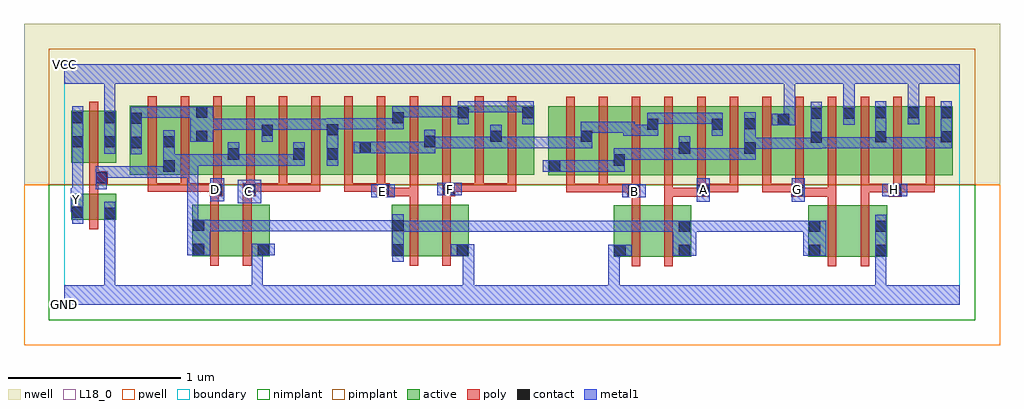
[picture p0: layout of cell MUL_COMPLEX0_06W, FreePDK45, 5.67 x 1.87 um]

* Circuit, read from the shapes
.subckt MUL_COMPLEX0_06W A B C D E F G GND H VCC Y
M1 GND n1 Y VSUBS nfet w=0.15u l=0.05u
M2 n2 D n1 VSUBS nfet w=0.3u l=0.05u
M3 GND C n2 VSUBS nfet w=0.3u l=0.05u
M4 n3 E n1 VSUBS nfet w=0.3u l=0.05u
M5 GND F n3 VSUBS nfet w=0.3u l=0.05u
M6 n4 B GND VSUBS nfet w=0.3u l=0.05u
M7 n1 A n4 VSUBS nfet w=0.3u l=0.05u
M8 n5 G n1 VSUBS nfet w=0.3u l=0.05u
M9 GND H n5 VSUBS nfet w=0.3u l=0.05u
M10 VCC n1 Y n6 pfet w=0.3u l=0.05u
M11 n1 D n7 n6 pfet w=0.4u l=0.05u m=3
M12 n7 C n1 n6 pfet w=0.4u l=0.05u m=3
M13 n8 E n7 n6 pfet w=0.4u l=0.05u m=3
M14 n7 F n8 n6 pfet w=0.4u l=0.05u m=3
M15 n8 B n9 n6 pfet w=0.4u l=0.05u m=3
M16 n9 A n8 n6 pfet w=0.4u l=0.05u m=3
M17 VCC G n9 n6 pfet w=0.4u l=0.05u m=3
M18 n9 H VCC n6 pfet w=0.4u l=0.05u m=3
.ends

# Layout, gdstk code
import gdstk
lib = gdstk.Library(unit=1e-6, precision=1e-09)
def R(c, l, rs):  # rectangles x0, y0, x1, y1
    for r in rs: c.add(gdstk.rectangle(r[:2], r[2:], *l))
def A(c, l, x, y, w, h, nx, ny, dx, dy):  # array of equal rectangles
    R(c, l, [(x+i*dx, y+j*dy, x+i*dx+w, y+j*dy+h) for i in range(nx) for j in range(ny)])
active = (1, 0)
pwell = (2, 0)
nwell = (3, 0)
nimplant = (4, 0)
pimplant = (5, 0)
poly = (9, 0)
contact = (10, 0)
metal1 = (11, 0)
L18_0 = (18, 0)
boundary = (235, 0)

mul_complex0_06w = lib.new_cell('MUL_COMPLEX0_06W')
A(mul_complex0_06w, active, 4.14, 0.755, 0.075, 0.4, 3, 1, 0.19, 0)
A(mul_complex0_06w, active, 4.705, 0.755, 0.075, 0.4, 3, 1, 0.19, 0)
A(mul_complex0_06w, active, 1.14, 0.757, 0.075, 0.398, 4, 1, 0.38, 0)
R(mul_complex0_06w, active, [(3.19,0.28,3.265,0.58), (3.19,0.28,3.415,0.58), (3.415,0.28,3.64,0.58), (3.565,0.28,3.64,0.58), (4.322,0.28,4.397,0.58), (4.322,0.28,4.555,0.58), (4.555,0.28,4.78,0.58), (4.705,0.28,4.78,0.58), (0.742,0.282,0.817,0.582), (0.742,0.282,0.967,0.582), (0.967,0.282,1.192,0.582), (1.117,0.282,1.192,0.582), (1.9,0.282,1.975,0.582), (1.9,0.282,2.125,0.582), (2.125,0.282,2.35,0.582), (2.275,0.282,2.35,0.582), (0.04,0.495,0.115,0.645), (0.04,0.495,0.3,0.645), (0.225,0.495,0.3,0.645), (2.81,0.755,3.07,1.155), (2.995,0.755,3.07,1.155), (2.995,0.755,3.26,1.155), (3.185,0.755,3.455,1.155), (3.185,0.755,3.26,1.07), (3.38,0.755,3.455,1.155), (3.38,0.755,3.64,1.155), (3.565,0.755,3.83,1.155), (3.565,0.755,3.64,1.07), (3.755,0.755,3.83,1.155), (3.755,0.755,4.02,1.155), (3.945,0.755,4.02,1.155), (3.945,0.755,4.215,1.155), (4.14,0.755,4.405,1.155), (4.33,0.755,4.595,1.155), (4.52,0.755,4.78,1.155), (4.705,0.755,4.97,1.155), (4.895,0.755,5.16,1.155), (0.38,0.757,0.645,1.157), (0.38,0.757,0.455,1.155), (0.57,0.757,0.835,1.157), (0.57,0.757,0.645,1.07), (0.76,0.757,0.835,1.157), (0.76,0.757,1.02,1.157), (0.945,0.757,1.215,1.157), (0.945,0.757,1.02,1.07), (1.14,0.757,1.4,1.157), (1.325,0.757,1.595,1.157), (1.325,0.757,1.4,1.07), (1.52,0.757,1.785,1.157), (1.71,0.757,1.975,1.157), (1.71,0.757,1.785,1.07), (1.9,0.757,2.16,1.157), (2.085,0.757,2.355,1.157), (2.085,0.757,2.16,1.07), (2.28,0.757,2.545,1.157), (2.47,0.757,2.73,1.157), (2.47,0.757,2.545,1.07), (2.81,0.77,2.885,0.94), (0.04,0.827,0.3,1.127), (0.04,0.827,0.115,1.125), (0.225,0.827,0.3,1.127), (2.655,0.907,2.73,1.155)])
R(mul_complex0_06w, pwell, [(-0.235,-0.235,5.435,0.7)])
R(mul_complex0_06w, nwell, [(-0.235,0.7,5.435,1.635)])
R(mul_complex0_06w, nimplant, [(-0.09,-0.09,5.29,0.7)])
R(mul_complex0_06w, pimplant, [(-0.09,0.7,5.29,1.49)])
A(mul_complex0_06w, poly, 2.915, 0.655, 0.05, 0.095, 3, 1, 0.19, 0)
A(mul_complex0_06w, poly, 3.675, 0.655, 0.05, 0.095, 4, 1, 0.19, 0)
A(mul_complex0_06w, poly, 4.625, 0.655, 0.05, 0.095, 3, 1, 0.19, 0)
A(mul_complex0_06w, poly, 0.485, 0.657, 0.05, 0.095, 8, 1, 0.19, 0)
A(mul_complex0_06w, poly, 1.435, 0.657, 0.05, 0.05, 3, 1, 0.19, 0)
A(mul_complex0_06w, poly, 2.195, 0.657, 0.05, 0.095, 3, 1, 0.19, 0)
A(mul_complex0_06w, poly, 2.915, 0.7, 0.05, 0.51, 12, 1, 0.19, 0)
A(mul_complex0_06w, poly, 0.485, 0.702, 0.05, 0.51, 12, 1, 0.19, 0)
R(mul_complex0_06w, poly, [(3.295,0.225,3.345,0.635), (3.485,0.225,3.535,0.68), (4.435,0.225,4.485,0.635), (4.625,0.225,4.675,0.635), (0.847,0.227,0.897,0.637), (1.037,0.227,1.087,0.637), (2.005,0.227,2.055,0.637), (2.195,0.227,2.245,0.637), (0.145,0.44,0.195,0.7), (3.295,0.585,3.345,0.68), (4.435,0.585,4.485,0.68), (4.625,0.585,4.675,0.705), (0.847,0.587,0.897,0.682), (1.037,0.587,1.087,0.682), (2.005,0.587,2.055,0.682), (2.195,0.587,2.245,0.682), (3.27,0.63,3.345,0.705), (3.485,0.63,3.535,0.68), (3.485,0.63,3.535,0.68), (3.485,0.63,3.535,0.68), (3.485,0.63,3.535,0.68), (3.485,0.63,3.535,0.75), (3.485,0.63,3.722,0.68), (3.672,0.63,3.747,0.705), (4.222,0.63,4.297,0.705), (4.247,0.63,4.297,0.68), (4.247,0.63,4.297,0.68), (4.247,0.63,4.485,0.68), (4.435,0.63,4.485,0.68), (4.435,0.63,4.485,0.75), (4.79,0.63,4.865,0.705), (0.845,0.632,0.92,0.707), (1.037,0.632,1.112,0.707), (1.815,0.632,1.89,0.707), (1.84,0.632,2.055,0.682), (2.005,0.632,2.055,0.682), (2.005,0.632,2.055,0.682), (2.005,0.632,2.055,0.682), (2.005,0.632,2.055,0.752), (2.195,0.632,2.27,0.707), (0.145,0.65,0.195,0.752), (2.915,0.655,2.965,0.705), (2.915,0.655,2.965,0.705), (2.915,0.655,2.965,0.705), (2.915,0.655,3.155,0.705), (3.105,0.655,3.155,0.705), (3.105,0.655,3.155,0.705), (3.105,0.655,3.155,0.705), (3.105,0.655,3.32,0.705), (3.697,0.655,3.915,0.705), (3.865,0.655,3.915,0.705), (3.865,0.655,3.915,0.705), (3.865,0.655,3.915,0.705), (4.055,0.655,4.105,0.705), (4.055,0.655,4.105,0.705), (4.055,0.655,4.105,0.705), (4.055,0.655,4.272,0.705), (4.625,0.655,4.675,0.705), (4.625,0.655,4.84,0.705), (4.79,0.655,4.84,0.705), (4.79,0.655,4.84,0.705), (4.815,0.655,5.055,0.705), (5.005,0.655,5.055,0.705), (5.005,0.655,5.055,0.705), (5.005,0.655,5.055,0.705), (0.485,0.657,0.535,0.707), (0.485,0.657,0.535,0.707), (0.485,0.657,0.535,0.707), (0.485,0.657,0.725,0.707), (0.675,0.657,0.725,0.707), (0.675,0.657,0.895,0.707), (0.845,0.657,0.895,0.707), (0.845,0.657,0.895,0.707), (1.062,0.657,1.295,0.707), (1.245,0.657,1.295,0.707), (1.245,0.657,1.295,0.707), (1.245,0.657,1.295,0.707), (1.245,0.657,1.485,0.707), (1.435,0.657,1.485,0.707), (1.435,0.657,1.485,0.707), (1.625,0.657,1.865,0.707), (1.815,0.657,1.865,0.707), (2.22,0.657,2.435,0.707), (2.385,0.657,2.435,0.707), (2.385,0.657,2.435,0.707), (2.385,0.657,2.435,0.707), (2.385,0.657,2.625,0.707), (2.575,0.657,2.625,0.707), (2.575,0.657,2.625,0.707), (2.575,0.657,2.625,0.707), (0.145,0.702,0.252,0.777), (0.145,0.727,0.195,0.822), (0.145,0.772,0.195,1.182)])
A(mul_complex0_06w, contact, 4.71, 1.085, 0.065, 0.065, 3, 1, 0.19, 0)
R(mul_complex0_06w, contact, [(3.195,0.285,3.26,0.35), (3.57,0.285,3.635,0.35), (4.327,0.285,4.392,0.35), (4.71,0.285,4.775,0.35), (1.905,0.287,1.97,0.352), (2.28,0.287,2.345,0.352), (0.747,0.29,0.812,0.355), (1.122,0.29,1.187,0.355), (3.57,0.425,3.635,0.49), (4.327,0.425,4.392,0.49), (4.71,0.425,4.775,0.49), (1.905,0.427,1.97,0.492), (0.747,0.43,0.812,0.495), (0.23,0.5,0.295,0.565), (0.045,0.507,0.11,0.572), (3.275,0.635,3.34,0.7), (3.677,0.635,3.742,0.7), (4.227,0.635,4.292,0.7), (4.795,0.635,4.86,0.7), (0.85,0.637,0.915,0.702), (1.042,0.637,1.107,0.702), (1.82,0.637,1.885,0.702), (2.2,0.637,2.265,0.702), (0.182,0.707,0.247,0.772), (0.575,0.775,0.64,0.84), (2.815,0.775,2.88,0.84), (3.19,0.81,3.255,0.875), (0.95,0.845,1.015,0.91), (1.33,0.845,1.395,0.91), (1.525,0.845,1.59,0.91), (3.57,0.88,3.635,0.945), (3.95,0.88,4.015,0.945), (1.715,0.882,1.78,0.947), (0.385,0.912,0.45,0.977), (0.045,0.915,0.11,0.98), (0.23,0.915,0.295,0.98), (0.575,0.915,0.64,0.98), (2.09,0.917,2.155,0.982), (4.335,0.942,4.4,1.007), (4.71,0.945,4.775,1.01), (5.09,0.945,5.155,1.01), (0.765,0.947,0.83,1.012), (2.475,0.947,2.54,1.012), (3,0.947,3.065,1.012), (1.145,0.982,1.21,1.047), (1.525,0.985,1.59,1.05), (3.385,1.017,3.45,1.082), (3.76,1.017,3.825,1.082), (3.95,1.02,4.015,1.085), (4.145,1.045,4.21,1.11), (0.385,1.052,0.45,1.117), (0.045,1.055,0.11,1.12), (0.23,1.055,0.295,1.12), (1.905,1.055,1.97,1.12), (4.335,1.082,4.4,1.147), (4.525,1.082,4.59,1.147), (2.285,1.085,2.35,1.15), (2.66,1.085,2.725,1.15), (0.765,1.087,0.83,1.152)])
R(mul_complex0_06w, metal1, [(0,0,5.2,0.115), (0.23,0.05,0.295,0.115), (0.23,0.05,0.295,0.115), (0.23,0.05,0.295,0.115), (0.23,0.05,0.295,0.115), (0.23,0.05,0.295,0.115), (0.23,0.05,0.295,0.115), (0.23,0.05,0.295,0.53), (1.087,0.05,1.152,0.355), (2.315,0.05,2.38,0.115), (2.315,0.05,2.38,0.115), (2.315,0.05,2.38,0.352), (3.16,0.05,3.225,0.115), (3.16,0.05,3.225,0.115), (3.16,0.05,3.225,0.35), (4.71,0.05,4.775,0.115), (4.71,0.05,4.775,0.115), (4.71,0.05,4.775,0.115), (4.71,0.05,4.775,0.115), (4.71,0.05,4.775,0.315), (4.71,0.25,4.775,0.525), (1.905,0.252,1.97,0.527), (3.16,0.285,3.225,0.35), (3.16,0.285,3.225,0.35), (3.16,0.285,3.295,0.35), (3.535,0.285,3.67,0.49), (4.292,0.285,4.427,0.49), (2.245,0.287,2.38,0.352), (2.315,0.287,2.38,0.352), (2.315,0.287,2.38,0.352), (0.712,0.29,0.847,0.495), (1.087,0.29,1.152,0.355), (1.087,0.29,1.152,0.355), (1.087,0.29,1.152,0.355), (1.087,0.29,1.152,0.355), (1.087,0.29,1.222,0.355), (1.905,0.425,1.97,0.49), (1.905,0.425,1.97,0.49), (1.905,0.425,2.107,0.49), (2.042,0.425,2.107,0.49), (2.042,0.425,2.107,0.49), (2.042,0.425,2.107,0.49), (2.042,0.425,2.402,0.49), (2.337,0.425,2.402,0.49), (2.337,0.425,2.402,0.49), (2.337,0.425,2.402,0.49), (2.337,0.425,2.57,0.49), (2.505,0.425,2.57,0.49), (2.505,0.425,2.707,0.49), (2.642,0.425,2.707,0.49), (2.642,0.425,2.707,0.49), (2.642,0.425,2.707,0.49), (2.642,0.425,2.845,0.49), (2.78,0.425,2.845,0.49), (2.78,0.425,2.845,0.49), (2.78,0.425,2.845,0.49), (2.78,0.425,3.065,0.49), (3,0.425,3.065,0.49), (3,0.425,3.065,0.49), (3,0.425,3.065,0.49), (3,0.425,3.202,0.49), (3.137,0.425,3.202,0.49), (3.137,0.425,3.45,0.49), (3.385,0.425,3.45,0.49), (3.385,0.425,3.45,0.49), (3.385,0.425,3.45,0.49), (3.385,0.425,3.6,0.49), (3.535,0.425,3.6,0.49), (3.535,0.425,3.6,0.49), (3.605,0.425,3.877,0.49), (3.812,0.425,3.877,0.49), (3.812,0.425,3.877,0.49), (3.812,0.425,3.877,0.49), (3.812,0.425,4.015,0.49), (3.95,0.425,4.015,0.49), (3.95,0.425,4.015,0.49), (3.95,0.425,4.015,0.49), (3.95,0.425,4.152,0.49), (4.087,0.425,4.152,0.49), (4.087,0.425,4.152,0.49), (4.087,0.425,4.152,0.49), (4.087,0.425,4.357,0.49), (4.292,0.425,4.365,0.49), (4.3,0.425,4.365,0.49), (0.782,0.427,0.847,0.492), (0.782,0.427,0.847,0.492), (0.782,0.427,1.015,0.492), (0.95,0.427,1.015,0.492), (0.95,0.427,1.015,0.492), (0.95,0.427,1.015,0.492), (0.95,0.427,1.152,0.492), (1.087,0.427,1.152,0.492), (1.087,0.427,1.152,0.492), (1.087,0.427,1.152,0.492), (1.087,0.427,1.452,0.492), (1.387,0.427,1.452,0.492), (1.387,0.427,1.452,0.492), (1.387,0.427,1.452,0.492), (1.387,0.427,1.607,0.492), (1.542,0.427,1.607,0.492), (1.542,0.427,1.607,0.492), (1.542,0.427,1.607,0.492), (1.542,0.427,1.745,0.492), (1.68,0.427,1.745,0.492), (1.68,0.427,1.745,0.492), (1.68,0.427,1.745,0.492), (1.68,0.427,1.97,0.492), (0.712,0.43,0.777,0.805), (0.23,0.465,0.295,0.6), (0.045,0.472,0.11,0.607), (0.037,0.542,0.11,0.677), (0.045,0.542,0.11,0.607), (1.007,0.592,1.142,0.727), (3.672,0.6,3.75,0.737), (4.225,0.6,4.302,0.737), (0.847,0.602,0.927,0.737), (0.045,0.612,0.11,0.945), (1.782,0.625,1.92,0.702), (3.24,0.625,3.377,0.702), (4.752,0.632,4.895,0.705), (2.165,0.637,2.307,0.71), (0.182,0.672,0.247,0.807), (0.182,0.74,0.247,0.805), (0.182,0.74,0.247,0.805), (0.182,0.74,0.432,0.805), (0.367,0.74,0.432,0.805), (0.367,0.74,0.432,0.805), (0.367,0.74,0.432,0.805), (0.367,0.74,0.64,0.805), (0.575,0.74,0.64,0.805), (0.575,0.74,0.64,0.805), (0.575,0.74,0.64,0.805), (0.575,0.74,0.64,0.805), (0.575,0.74,0.64,1.015), (0.575,0.74,0.777,0.805), (0.712,0.74,0.777,0.805), (2.78,0.775,2.915,0.84), (2.85,0.775,2.915,0.84), (2.85,0.775,2.915,0.84), (2.85,0.775,3.052,0.84), (2.987,0.775,3.052,0.84), (2.987,0.775,3.052,0.84), (2.987,0.775,3.052,0.84), (2.987,0.775,3.255,0.84), (3.19,0.775,3.255,0.91), (0.575,0.81,0.64,0.875), (0.575,0.81,0.64,0.875), (0.575,0.81,0.877,0.875), (0.812,0.81,0.877,0.875), (0.812,0.81,0.877,0.875), (0.812,0.81,0.877,0.875), (0.812,0.81,1.015,0.875), (0.95,0.81,1.015,0.875), (0.95,0.81,1.015,0.875), (0.95,0.81,1.015,0.945), (0.95,0.81,1.152,0.875), (1.087,0.81,1.152,0.875), (1.087,0.81,1.225,0.875), (1.16,0.81,1.225,0.875), (1.16,0.81,1.395,0.875), (1.33,0.81,1.395,0.945), (1.525,0.81,1.59,1.085), (3.19,0.845,3.255,0.91), (3.19,0.845,3.255,0.91), (3.19,0.845,3.45,0.91), (3.385,0.845,3.45,0.91), (3.385,0.845,3.6,0.91), (3.535,0.845,3.6,0.91), (3.535,0.845,3.635,0.91), (3.57,0.845,3.635,0.98), (3.57,0.845,3.815,0.91), (3.75,0.845,3.815,0.91), (3.75,0.845,3.815,0.91), (3.75,0.845,3.815,0.91), (3.75,0.845,4.015,0.91), (3.95,0.845,4.015,0.91), (3.95,0.845,4.015,0.91), (3.95,0.845,4.015,1.12), (0.385,0.877,0.45,1.152), (0.045,0.88,0.11,1.155), (0.23,0.88,0.295,1.155), (1.68,0.882,1.815,0.947), (1.75,0.882,1.815,0.947), (1.75,0.882,1.815,0.947), (1.75,0.882,1.952,0.947), (1.887,0.882,1.952,0.947), (1.887,0.882,1.952,0.947), (1.887,0.882,1.952,0.947), (1.887,0.882,2.155,0.947), (2.09,0.882,2.155,1.017), (3.95,0.907,4.152,0.972), (4.087,0.907,4.152,0.972), (4.087,0.907,4.152,0.972), (4.087,0.907,4.152,0.972), (4.087,0.907,4.4,0.972), (4.335,0.907,4.4,0.972), (4.335,0.907,4.4,0.972), (4.335,0.907,4.4,1.182), (4.335,0.91,4.552,0.975), (4.487,0.91,4.557,0.975), (4.492,0.91,4.557,0.975), (4.492,0.91,4.557,0.975), (4.492,0.91,4.687,0.975), (4.622,0.91,4.687,0.975), (4.622,0.91,4.775,0.975), (4.71,0.91,4.775,1.185), (4.71,0.91,4.912,0.975), (4.847,0.91,4.912,0.975), (4.847,0.91,4.912,0.975), (4.847,0.91,4.912,0.975), (4.847,0.91,5.155,0.975), (5.09,0.91,5.155,0.975), (5.09,0.91,5.155,0.975), (5.09,0.91,5.155,1.185), (2.09,0.912,2.155,0.977), (2.09,0.912,2.155,0.977), (2.09,0.912,2.292,0.977), (2.227,0.912,2.292,0.977), (2.227,0.912,2.54,0.977), (2.475,0.912,2.54,0.977), (2.475,0.912,2.54,0.977), (2.475,0.912,2.54,1.047), (2.475,0.912,2.707,0.977), (2.642,0.912,2.707,0.977), (2.642,0.912,2.707,0.977), (2.642,0.912,2.707,0.977), (2.642,0.912,2.707,0.977), (2.642,0.912,2.707,0.977), (2.642,0.912,2.845,0.977), (2.78,0.912,2.845,0.977), (2.78,0.912,2.845,0.977), (2.78,0.912,2.845,0.977), (2.78,0.912,3.065,0.977), (3,0.912,3.065,1.065), (0.73,0.947,0.865,1.152), (1.145,0.947,1.21,1.082), (3.247,0.982,3.45,1.047), (3.247,0.982,3.312,1.065), (3.385,0.982,3.45,1.047), (3.385,0.982,3.45,1.047), (3.385,0.982,3.45,1.117), (3.76,0.982,3.825,1.117), (3,1,3.065,1.065), (3,1,3.065,1.065), (3,1,3.312,1.065), (0.8,1.017,0.865,1.082), (0.8,1.017,0.865,1.082), (0.8,1.017,1.015,1.082), (0.95,1.017,1.015,1.082), (0.95,1.017,1.015,1.082), (0.95,1.017,1.015,1.082), (0.95,1.017,1.21,1.082), (1.145,1.017,1.21,1.082), (1.145,1.017,1.21,1.082), (1.145,1.017,1.452,1.082), (1.387,1.017,1.452,1.082), (1.387,1.017,1.452,1.082), (1.387,1.017,1.452,1.082), (1.387,1.017,1.59,1.082), (1.525,1.02,1.59,1.085), (1.525,1.02,1.59,1.085), (1.525,1.02,1.815,1.085), (1.75,1.02,1.815,1.085), (1.75,1.02,1.815,1.085), (1.75,1.02,1.815,1.085), (1.75,1.02,1.97,1.085), (1.905,1.02,1.97,1.155), (4.11,1.045,4.245,1.11), (4.18,1.045,4.245,1.35), (4.525,1.047,4.59,1.182), (2.285,1.05,2.35,1.185), (2.66,1.05,2.725,1.185), (4.9,1.05,4.965,1.185), (3.385,1.052,3.587,1.117), (3.522,1.052,3.587,1.117), (3.522,1.052,3.587,1.117), (3.522,1.052,3.587,1.117), (3.522,1.052,3.825,1.117), (3.76,1.052,3.825,1.117), (3.76,1.052,3.825,1.117), (0.385,1.087,0.45,1.152), (0.385,1.087,0.45,1.152), (0.385,1.087,0.587,1.152), (0.522,1.087,0.587,1.152), (0.522,1.087,0.587,1.152), (0.522,1.087,0.587,1.152), (0.522,1.087,0.795,1.152), (0.23,1.09,0.295,1.35), (1.905,1.09,1.97,1.155), (1.905,1.09,1.97,1.155), (1.905,1.09,2.107,1.155), (2.042,1.09,2.107,1.155), (2.042,1.09,2.107,1.155), (2.042,1.09,2.107,1.155), (2.042,1.09,2.35,1.155), (4.525,1.117,4.59,1.35), (2.285,1.12,2.35,1.185), (2.285,1.12,2.35,1.185), (2.285,1.12,2.54,1.185), (2.475,1.12,2.54,1.185), (2.475,1.12,2.677,1.185), (2.612,1.12,2.677,1.185), (2.612,1.12,2.725,1.185), (4.9,1.12,4.965,1.35), (0,1.285,5.2,1.4), (0.23,1.285,0.295,1.35), (0.23,1.285,0.295,1.35)])
R(mul_complex0_06w, L18_0, [(0,0,5.2,0.115), (0.23,0.05,0.295,0.115), (0.23,0.05,0.295,0.115), (0.23,0.05,0.295,0.115), (0.23,0.05,0.295,0.115), (0.23,0.05,0.295,0.115), (0.23,0.05,0.295,0.115), (0.23,0.05,0.295,0.53), (1.087,0.05,1.152,0.355), (2.315,0.05,2.38,0.115), (2.315,0.05,2.38,0.115), (2.315,0.05,2.38,0.352), (3.16,0.05,3.225,0.115), (3.16,0.05,3.225,0.115), (3.16,0.05,3.225,0.35), (4.71,0.05,4.775,0.115), (4.71,0.05,4.775,0.115), (4.71,0.05,4.775,0.115), (4.71,0.05,4.775,0.115), (4.71,0.05,4.775,0.315), (4.71,0.25,4.775,0.525), (3.16,0.285,3.225,0.35), (3.16,0.285,3.225,0.35), (3.16,0.285,3.295,0.35), (2.245,0.287,2.38,0.352), (2.315,0.287,2.38,0.352), (2.315,0.287,2.38,0.352), (1.087,0.29,1.152,0.355), (1.087,0.29,1.152,0.355), (1.087,0.29,1.152,0.355), (1.087,0.29,1.152,0.355), (1.087,0.29,1.222,0.355), (0.23,0.465,0.295,0.6), (0.045,0.472,0.11,0.607), (0.037,0.542,0.11,0.677), (0.045,0.542,0.11,0.607), (0.037,0.577,0.102,0.642), (1.007,0.592,1.142,0.727), (3.672,0.6,3.75,0.737), (4.225,0.6,4.302,0.737), (0.847,0.602,0.927,0.737), (0.045,0.612,0.11,0.945), (1.782,0.625,1.92,0.702), (3.24,0.625,3.377,0.702), (1.037,0.627,1.102,0.692), (1.817,0.627,1.882,0.692), (3.277,0.627,3.342,0.692), (4.752,0.632,4.895,0.705), (0.847,0.637,0.912,0.702), (2.165,0.637,2.307,0.71), (2.207,0.637,2.272,0.702), (3.677,0.637,3.742,0.702), (4.227,0.637,4.292,0.702), (4.787,0.637,4.852,0.702), (0.045,0.88,0.11,1.155), (0.23,0.88,0.295,1.155), (4.11,1.045,4.245,1.11), (4.18,1.045,4.245,1.35), (4.525,1.047,4.59,1.182), (4.9,1.05,4.965,1.185), (0.23,1.09,0.295,1.35), (4.525,1.117,4.59,1.35), (4.9,1.12,4.965,1.35), (0,1.285,5.2,1.4), (0.23,1.285,0.295,1.35), (0.23,1.285,0.295,1.35)])
R(mul_complex0_06w, boundary, [(0,0,5.2,1.4)])
mul_complex0_06w.add(gdstk.Label('A', (3.71,0.67), layer=11, texttype=0))
mul_complex0_06w.add(gdstk.Label('B', (3.31,0.66), layer=11, texttype=0))
mul_complex0_06w.add(gdstk.Label('C', (1.07,0.66), layer=11, texttype=0))
mul_complex0_06w.add(gdstk.Label('D', (0.88,0.67), layer=11, texttype=0))
mul_complex0_06w.add(gdstk.Label('E', (1.85,0.66), layer=11, texttype=0))
mul_complex0_06w.add(gdstk.Label('F', (2.24,0.67), layer=11, texttype=0))
mul_complex0_06w.add(gdstk.Label('G', (4.26,0.67), layer=11, texttype=0))
mul_complex0_06w.add(gdstk.Label('H', (4.82,0.67), layer=11, texttype=0))
mul_complex0_06w.add(gdstk.Label('Y', (0.07,0.61), layer=11, texttype=0))
mul_complex0_06w.add(gdstk.Label('VCC', (0,1.4), layer=11, texttype=0))
mul_complex0_06w.add(gdstk.Label('GND', (0,0), layer=11, texttype=0))

lib.write_gds('MUL_COMPLEX0_06W.gds')
